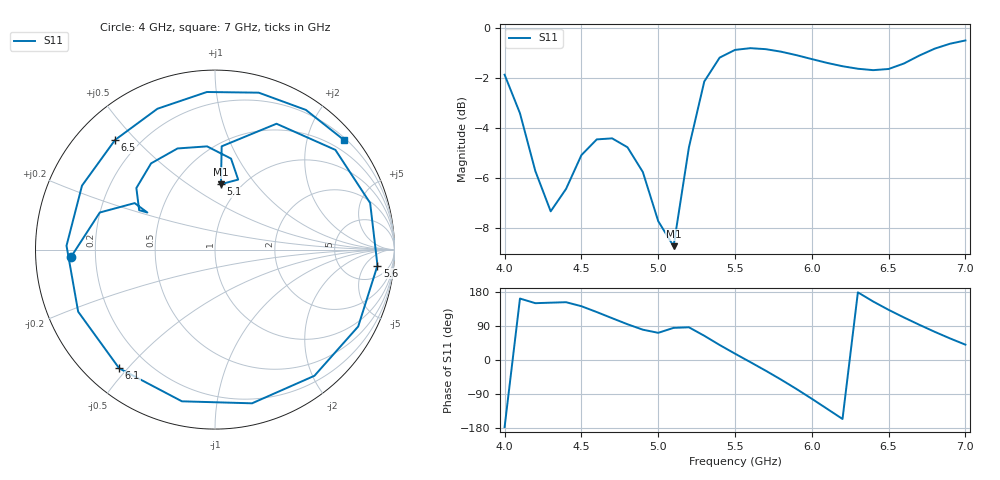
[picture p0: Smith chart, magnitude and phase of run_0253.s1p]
! Touchstone file exported from HFSS 2024.2.0
!  File:  C:/Users/wsak9/Desktop/Sim Fast/Widenad Patch/WP_AI_V1_sweep.aedt
!  Generated:  01:39:31 AM Oct 14, 2026
!  Design:  A1_model
!  Project:  WP_AI_V1_sweep
!  Setup:  Setup1
!  Solution:  Sweep
! Variables:
!  Air_gap = 2.1mm
!  Curve_Amp1 = 2.12
!  Curve_len1 = 1
!  Curve_pos = 12.255mm
!  Extra = 7.01mm
!  H_sub = 0.79mm
!  L_Patch = 20.51mm
!  L_Patch1 = 22.11mm
!  Sx = 4.06mm
!  Sy = 4.26mm
!  WS = 1.3mm
!  W_Patch = 18.66mm
!  W_Patch1 = 15.1mm
!Data is not renormalized
# GHz S MA
! Terminal data exported
! Port[1] = 1
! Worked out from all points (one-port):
!   31 points, 4 GHz to 7 GHz, reference per port
!   lowest |S11| = -8.7 dB at 5.1 GHz (marker M1), VSWR 2.16
!   |S11| at or under -10 dB: nowhere
!   S11 on the Smith chart (normalised r, x): 4 GHz: 0.11, -0.03; 5.1 GHz: 0.81, +0.68; 5.6 GHz: 10, -11; 6.1 GHz: 0.10, -0.47; 6.5 GHz: 0.11, +0.44; 7 GHz: 0.25, +2.69
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4  0.8051 -176.9
4.1  0.6744 162.2
4.2  0.5172 149.9
4.3  0.4297 151.3
4.4  0.4763 152.5
4.5  0.5564 141.9
4.6  0.5981 126.5
4.8  0.5768 94.4
4.9  0.5148 80.0
5  0.4108 71.7
5.1  0.3661 84.8
5.2  0.5766 86.3
5.3  0.7805 64.0
5.4  0.871 39.6
5.5  0.9025 16.7
5.6  0.9096 -5.6
5.7  0.9055 -28.2
5.8  0.8951 -51.8
5.9  0.8809 -76.5
6  0.8651 -102.3
6.1  0.85 -128.9
6.2  0.8372 -155.6
6.3  0.8275 178.5
6.4  0.8222 154.3
6.5  0.8266 132.3
6.7  0.8792 92.9
6.8  0.9076 74.4
7  0.9425 40.5
